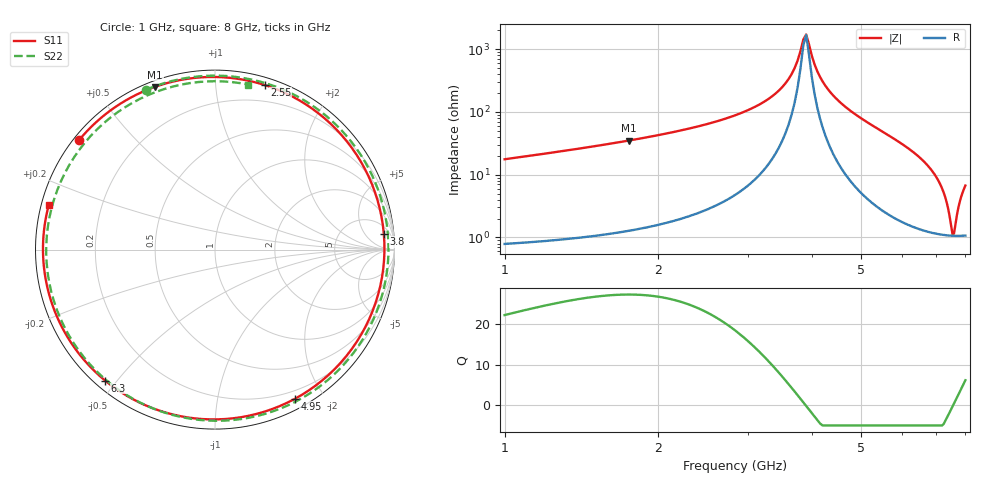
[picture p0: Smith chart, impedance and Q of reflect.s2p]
# GHz S RI R 50
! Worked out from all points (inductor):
!   141 points, 1 GHz to 8 GHz, reference 50 ohm
!   read as one part to ground: L = 2.59 nH near 1 GHz
!   highest Q = 27.4 at 1.75 GHz (marker M1), where L = 3.17 nH
!   self-resonance near 3.85 GHz
!   S11 on the Smith chart (normalised r, x): 1 GHz: 0.02, +0.35; 2.55 GHz: 0.06, +1.34; 3.8 GHz: 10, +16; 4.95 GHz: 0.11, -1.66; 6.3 GHz: 0.03, -0.47; 8 GHz: 0.02, +0.13
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1  -0.7584 0.6085  -0 -0  0 0  -0.3868 0.8896
1.35  -0.5852 0.7733  -0 -0  0 0  -0.0388 0.9686
1.75  -0.3341 0.9067  -0 -0  0 0  0.3389 0.9079
2.2  -0.000305 0.9618  -0 -0  0 0  0.6783 0.6916
2.55  0.2762 0.9173  -0 -0  0 0  0.8565 0.4514
2.95  0.5761 0.7595  -0 -0  0 0  0.9577 0.1353
3.35  0.8127 0.4897  -0 -0  0 0  0.9461 -0.1929
3.8  0.9407 0.0871  -0 -0  0 0  0.8 -0.536
4.15  0.9091 -0.2494  -0 -0  0 0  0.5952 -0.7537
4.5  0.7619 -0.554  -0 -0  0 0  0.3229 -0.9012
4.75  0.5985 -0.7279  -0 -0  0 0  0.0986 -0.9497
4.95  0.4432 -0.8324  -0 -0  0 0  -0.0902 -0.9485
5.3  0.1446 -0.9339  -0 -0  0 0  -0.4164 -0.8529
5.7  -0.1945 -0.9277  -0 -0  0 0  -0.7294 -0.601
6  -0.4211 -0.8518  -0 -0  0 0  -0.8821 -0.3322
6.3  -0.6113 -0.7303  -0 -0  0 0  -0.9403 -0.0262
6.55  -0.7381 -0.6046  -0 -0  0 0  -0.9105 0.2314
6.85  -0.8511 -0.4351  -0 -0  0 0  -0.7864 0.5124
7.15  -0.9226 -0.255  -0 -0  0 0  -0.5833 0.7348
7.45  -0.9554 -0.0724  -0 -0  0 0  -0.3272 0.8792
7.7  -0.9555 0.0771  -0 -0  0 0  -0.094 0.9334
8  -0.9258 0.2493  -0 -0  0 0  0.1864 0.9194
